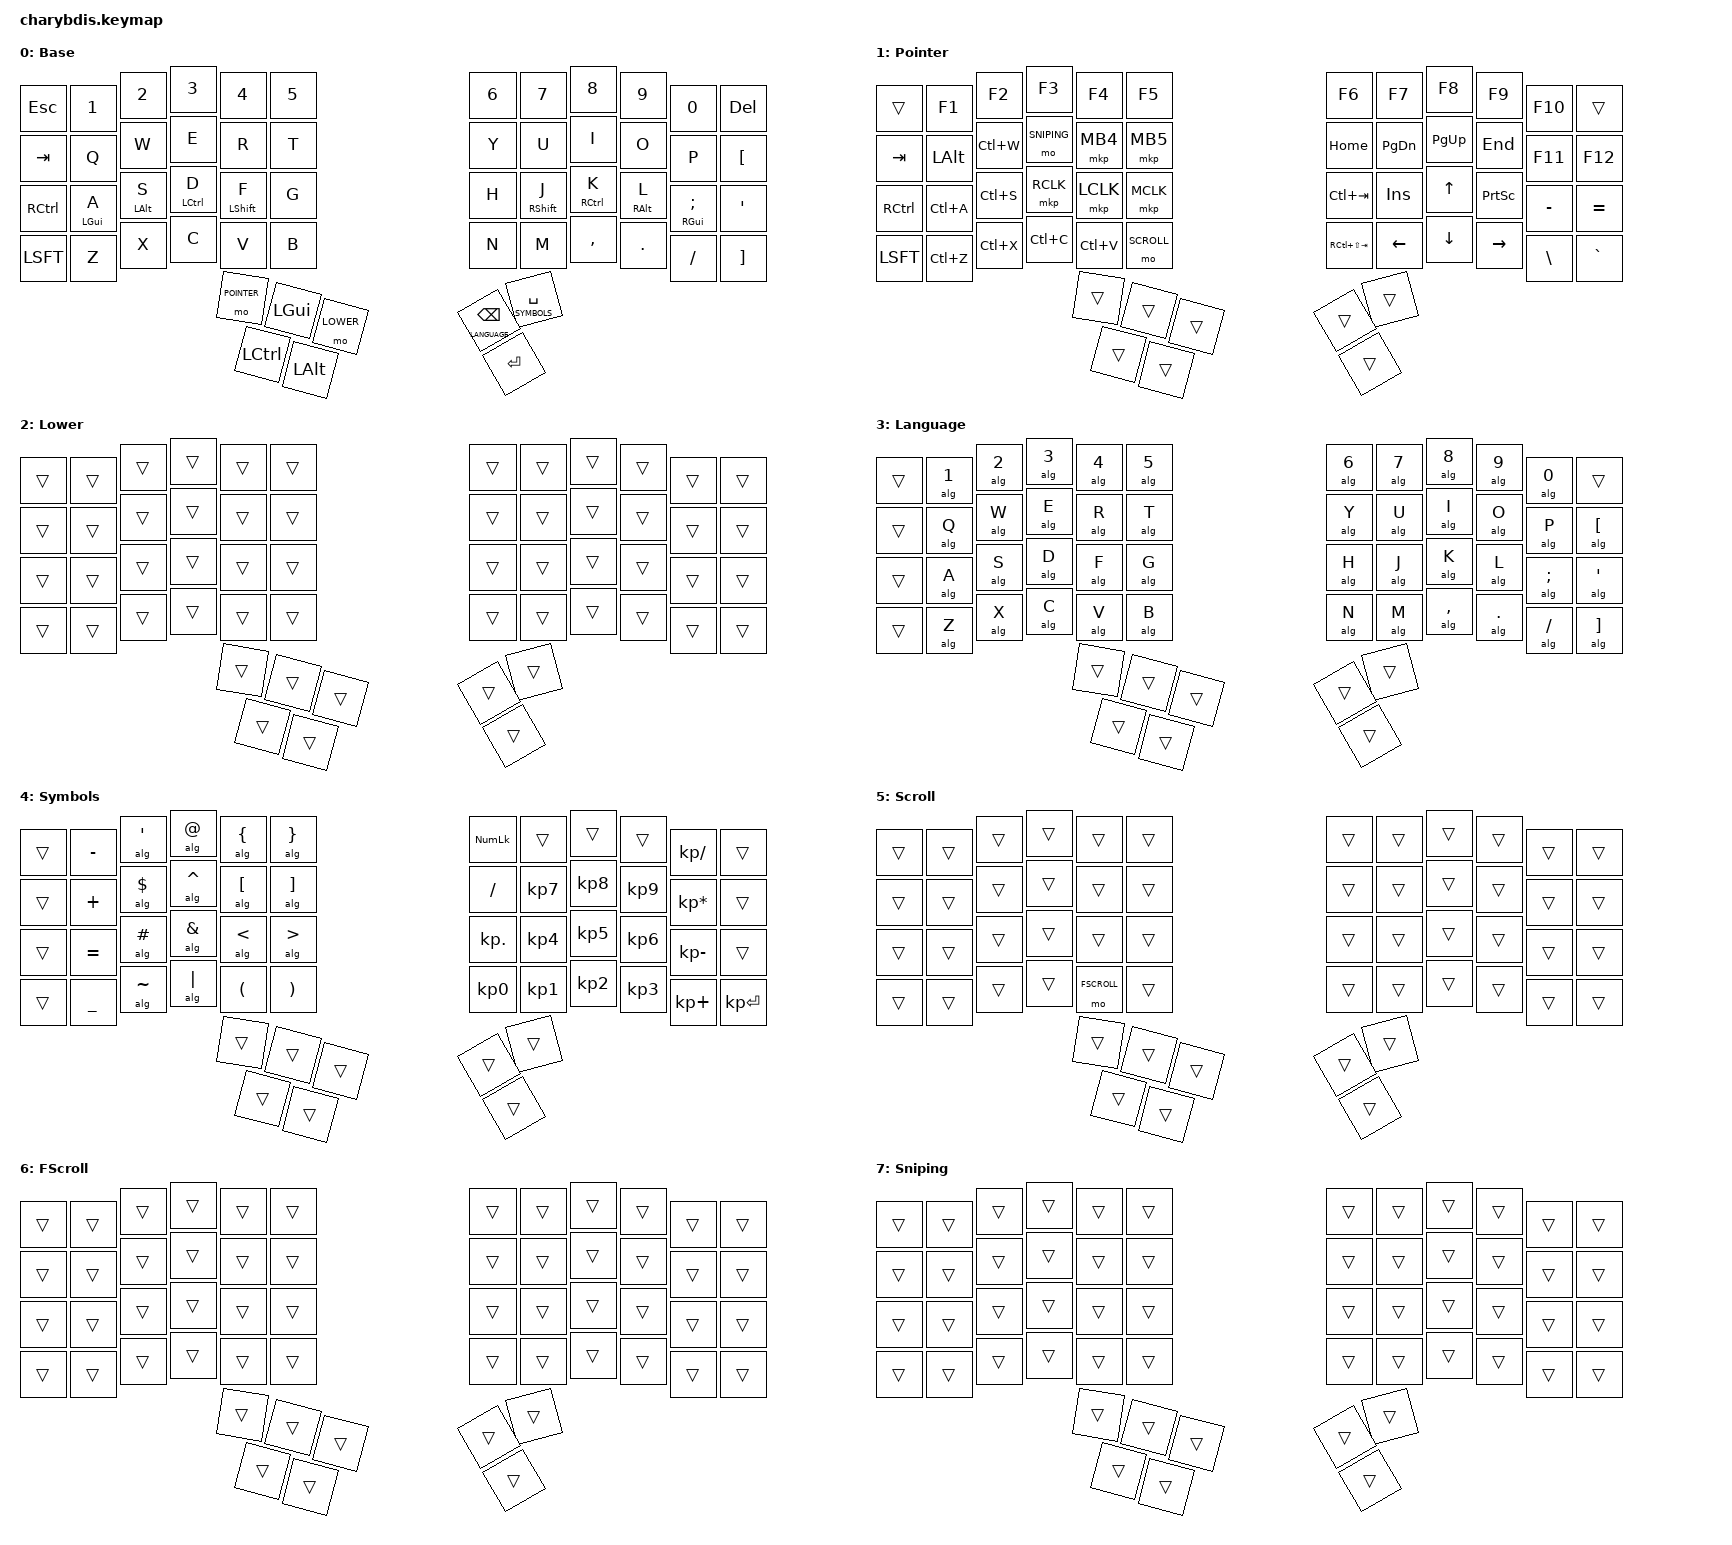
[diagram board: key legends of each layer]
#include <dt-bindings/zmk/mouse.h>
#include <behaviors/mouse_keys.dtsi>
#include <behaviors.dtsi>
#include <dt-bindings/zmk/bt.h>
#include <dt-bindings/zmk/keys.h>
#include <dt-bindings/zmk/outputs.h>
#include <dt-bindings/zmk/pointing.h>

/ {
    chosen { zmk,physical-layout = &charybdis_6col_layout; };
};

&mt {
    quick-tap-ms = <200>;
    flavor = "tap-preferred";
    tapping-term-ms = <170>;
};

&lt {
    quick-tap-ms = <200>;
    flavor = "tap-preferred";
    tapping-term-ms = <170>;
};

// Layer definitions
#define BASE 0
#define POINTER 1
#define LOWER 2
#define LANGUAGE 3
#define SYMBOLS 4
#define SCROLL 5
#define FSCROLL 6
#define SNIPING 7

/ {
  behaviors {
    // Hold-tap behavior for layer with tap-preferred
    blt: blt {
      compatible = "zmk,behavior-hold-tap";
      #binding-cells = <2>;
      flavor = "tap-preferred";
      tapping-term-ms = <200>;
      quick-tap-ms = <300>;
      require-prior-idle-ms = <100>;
      bindings = <&mo>, <&kp>;
    };

    // Home row mods - Left hand
    hml: home_row_mod_left {
      compatible = "zmk,behavior-hold-tap";
      #binding-cells = <2>;
      flavor = "balanced";
      require-prior-idle-ms = <150>;
      tapping-term-ms = <280>;
      quick-tap-ms = <175>;
      bindings = <&kp>, <&kp>;
      hold-trigger-key-positions = <6 7 8 9 10 11 18 19 20 21 22 23 30 31 32 33 34 35 42 43 44 45 46 47 53 54 55>; // Right side keys
      hold-trigger-on-release;
    };

    // Home row mods - Right hand
    hmr: home_row_mod_right {
      compatible = "zmk,behavior-hold-tap";
      #binding-cells = <2>;
      flavor = "balanced";
      require-prior-idle-ms = <150>;
      tapping-term-ms = <280>;
      quick-tap-ms = <175>;
      bindings = <&kp>, <&kp>;
      hold-trigger-key-positions = <0 1 2 3 4 5 12 13 14 15 16 17 24 25 26 27 28 29 36 37 38 39 40 41 48 49 50 51 52>; // Left side keys
      hold-trigger-on-release;
    };
  };

  macros {
    // Switching to another language with Ctrl + Shift, typing a key, and switching back
    alg: another_language  {
      compatible = "zmk,behavior-macro-one-param";
      #binding-cells = <1>;
      bindings
        = <&macro_press &kp LCTRL &kp LSHIFT>
		, <&macro_release &kp LCTRL &kp LSHIFT>
        , <&macro_param_1to1>
        , <&macro_tap &kp MACRO_PLACEHOLDER>
		, <&macro_press &kp LCTRL &kp LSHIFT>
		, <&macro_release &kp LCTRL &kp LSHIFT>
        ;
    };
    
  };

  combos {
    compatible = "zmk,combos";
    timeout-ms = <20>;
    require-prior-idle-ms = <250>;
    
    combo_reset_central {
      key-positions = <10 11 46>;
      bindings = <&bootloader>;
      require-prior-idle-ms = <2000>;
    };

    combo_studio_unlock {
      timeout-ms = <50>;
      key-positions = <53 54 55>;
      bindings = <&studio_unlock>;
    };

  };

  keymap {
    compatible = "zmk,keymap";

// ╭─────────────┬─────────────┬─────────────┬─────────────┬─────────────┬─────────────╮   ╭─────────────┬─────────────┬─────────────┬─────────────┬─────────────┬─────────────╮
//    0             1             2             3             4             5                 6             7             8             9            10            11
// ├─────────────┼─────────────┼─────────────┼─────────────┼─────────────┼─────────────┤   ├─────────────┼─────────────┼─────────────┼─────────────┼─────────────┼─────────────┤
//   12            13            14            15            16            17                18            19            20            21            22            23
// ├─────────────┼─────────────┼─────────────┼─────────────┼─────────────┼─────────────┤   ├─────────────┼─────────────┼─────────────┼─────────────┼─────────────┼─────────────┤
//   24            25            26            27            28            29                30            31            32            33            34            35
// ├─────────────┼─────────────┼─────────────┼─────────────┼─────────────┼─────────────┤   ├─────────────┼─────────────┼─────────────┼─────────────┼─────────────┼─────────────┤
//   36            37            38            39            40            41                42            43            44            45            46            47
// ╰─────────────┴─────────────┴─────────────┴─────────────┴─────────────┴─────────────╯   ╰─────────────┴─────────────┴─────────────┴─────────────┴─────────────┴─────────────╯
//               ╭─────────────┬─────────────┬─────────────┬─────────────┬─────────────╮   ╭─────────────┬─────────────┬─────────────╮
//                  48            49            50            51            52                53            54            55
//               ╰─────────────┴─────────────┴─────────────┴─────────────┴─────────────╯   ╰─────────────┴─────────────┴─────────────╯
//                                                                         Actual Key Positions
//                                          ╭─────────────┬─────────────┬─────────────╮    ╭─────────────┬─────────────╮
//                                             50           51            48                 55            54
//                                          ╰─────────────┼─────────────┼─────────────┤    ├─────────────┼─────────────╯
//                                                          52            49                 53
//                                                        ╰─────────────┴─────────────╯    ╰─────────────╯

    base_layer {
      label = "BASE";
      display-name = "Base";
      bindings = <
// ╭─────────────┬─────────────┬─────────────┬─────────────┬─────────────┬─────────────╮   ╭─────────────┬───────────────────┬────────────────┬─────────────┬───────────────┬─────────────╮
    &kp ESC       &kp N1        &kp N2        &kp N3        &kp N4        &kp N5            &kp N6        &kp N7              &kp N8           &kp N9        &kp N0          &kp DEL
// ├─────────────┼─────────────┼─────────────┼─────────────┼─────────────┼─────────────┤   ├─────────────┼───────────────────┼────────────────┼─────────────┼───────────────┼─────────────┤
    &kp TAB       &kp Q         &kp W         &kp E         &kp R         &kp T             &kp Y         &kp U               &kp I            &kp O         &kp P           &kp LBKT
// ├─────────────┼─────────────┼─────────────┼─────────────┼─────────────┼─────────────┤   ├─────────────┼───────────────────┼────────────────┼─────────────┼───────────────┼─────────────┤
    &kp RCTRL     &hml LGUI A   &hml LALT S   &hml LCTRL D  &hml LSHIFT F &kp G             &kp H         &hmr RSHIFT J       &hmr RCTRL K     &hmr RALT L   &hmr RGUI SEMI  &kp SQT
// ├─────────────┼─────────────┼─────────────┼─────────────┼─────────────┼─────────────┤   ├─────────────┼───────────────────┼────────────────┼─────────────┼───────────────┼─────────────┤
    &kp LSFT      &kp Z         &kp X         &kp C         &kp V         &kp B             &kp N         &kp M               &kp COMMA        &kp DOT       &kp FSLH        &kp RBKT
// ╰─────────────┴─────────────┴─────────────┴─────────────┴─────────────┴─────────────╯   ╰─────────────┴───────────────────┴────────────────┴─────────────┴───────────────┴─────────────╯
//               ╭─────────────┬─────────────┬─────────────┬─────────────┬─────────────╮   ╭─────────────┬───────────────────┬────────────────╮
                  &mo LOWER     &kp LALT      &mo POINTER   &kp LGUI     &kp LCTRL         &kp RET       &blt SYMBOLS SPACE  &blt LANGUAGE BSPC
//               ╰─────────────┴─────────────┴─────────────┴─────────────┴─────────────╯   ╰─────────────┴───────────────────┴────────────────╯
      >;
    };

    pointer_layer {
      label = "POINTER";
      display-name = "Pointer";
      bindings = <
// ╭─────────────┬─────────────┬─────────────┬─────────────┬─────────────┬─────────────╮   ╭───────────────┬─────────────┬─────────────┬─────────────┬─────────────┬─────────────╮
    &trans        &kp F1        &kp F2        &kp F3        &kp F4        &kp F5            &kp F6          &kp F7        &kp F8        &kp F9        &kp F10       &trans
// ├─────────────┼─────────────┼─────────────┼─────────────┼─────────────┼─────────────┤   ├───────────────┼─────────────┼─────────────┼─────────────┼─────────────┼─────────────┤
    &kp TAB       &kp LALT      &kp LC(W)     &mo SNIPING   &mkp MB4      &mkp MB5          &kp HOME        &kp PG_DN     &kp PG_UP     &kp END       &kp F11       &kp F12
// ├─────────────┼─────────────┼─────────────┼─────────────┼─────────────┼─────────────┤   ├───────────────┼─────────────┼─────────────┼─────────────┼─────────────┼─────────────┤
    &kp RCTRL     &kp LC(A)     &kp LC(S)     &mkp RCLK     &mkp LCLK     &mkp MCLK         &kp LC(TAB)     &kp INS       &kp UP        &kp PSCRN     &kp MINUS     &kp EQUAL
// ├─────────────┼─────────────┼─────────────┼─────────────┼─────────────┼─────────────┤   ├───────────────┼─────────────┼─────────────┼─────────────┼─────────────┼─────────────┤
    &kp LSFT      &kp LC(Z)     &kp LC(X)     &kp LC(C)     &kp LC(V)     &mo SCROLL        &kp RC(LS(TAB)) &kp LEFT      &kp DOWN      &kp RIGHT     &kp BSLH      &kp GRAVE
// ╰─────────────┴─────────────┴─────────────┴─────────────┴─────────────┴─────────────╯   ╰───────────────┴─────────────┴─────────────┴─────────────┴─────────────┴─────────────╯
//               ╭─────────────┬─────────────┬─────────────┬─────────────┬─────────────╮   ╭───────────────┬─────────────┬─────────────╮
                  &trans        &trans        &trans        &trans        &trans            &trans          &trans        &trans
//               ╰─────────────┴─────────────┴─────────────┴─────────────┴─────────────╯   ╰───────────────┴─────────────┴─────────────╯
      >;
    };

    lower_layer {
      label = "LOWER";
      display-name = "Lower";
      bindings = <
// ╭─────────────┬─────────────┬─────────────┬─────────────┬─────────────┬─────────────╮   ╭─────────────┬─────────────┬─────────────┬─────────────┬─────────────┬─────────────╮
    &trans        &trans        &trans        &trans        &trans        &trans            &trans        &trans        &trans        &trans        &trans        &trans
// ├─────────────┼─────────────┼─────────────┼─────────────┼─────────────┼─────────────┤   ├─────────────┼─────────────┼─────────────┼─────────────┼─────────────┼─────────────┤
    &trans        &trans        &trans        &trans        &trans        &trans            &trans        &trans        &trans        &trans        &trans        &trans
// ├─────────────┼─────────────┼─────────────┼─────────────┼─────────────┼─────────────┤   ├─────────────┼─────────────┼─────────────┼─────────────┼─────────────┼─────────────┤
    &trans        &trans        &trans        &trans        &trans        &trans            &trans        &trans        &trans        &trans        &trans        &trans
// ├─────────────┼─────────────┼─────────────┼─────────────┼─────────────┼─────────────┤   ├─────────────┼─────────────┼─────────────┼─────────────┼─────────────┼─────────────┤
    &trans        &trans        &trans        &trans        &trans        &trans            &trans        &trans        &trans        &trans        &trans        &trans
// ╰─────────────┴─────────────┴─────────────┴─────────────┴─────────────┴─────────────╯   ╰─────────────┴─────────────┴─────────────┴─────────────┴─────────────┴─────────────╯
//               ╭─────────────┬─────────────┬─────────────┬─────────────┬─────────────╮   ╭─────────────┬─────────────┬────────────────╮
                  &trans        &trans        &trans        &trans        &trans            &trans        &trans        &trans
//               ╰─────────────┴─────────────┴─────────────┴─────────────┴─────────────╯   ╰─────────────┴─────────────┴────────────────╯
      >;
    };

    language_layer {
      label = "LANGUAGE";
      display-name = "Language";
      bindings = <
// ╭─────────────┬─────────────┬─────────────┬─────────────┬─────────────┬─────────────╮   ╭─────────────┬───────────────────┬────────────────┬─────────────┬───────────────┬─────────────╮
    &trans        &alg N1       &alg N2       &alg N3       &alg N4       &alg N5           &alg N6       &alg N7             &alg N8          &alg N9       &alg N0          &trans
// ├─────────────┼─────────────┼─────────────┼─────────────┼─────────────┼─────────────┤   ├─────────────┼───────────────────┼────────────────┼─────────────┼───────────────┼─────────────┤
    &trans        &alg Q        &alg W        &alg E        &alg R        &alg T            &alg Y        &alg U              &alg I           &alg O        &alg P          &alg LBKT
// ├─────────────┼─────────────┼─────────────┼─────────────┼─────────────┼─────────────┤   ├─────────────┼───────────────────┼────────────────┼─────────────┼───────────────┼─────────────┤
    &trans        &alg A        &alg S        &alg D        &alg F        &alg G            &alg H        &alg J              &alg K           &alg L        &alg SEMI       &alg SQT
// ├─────────────┼─────────────┼─────────────┼─────────────┼─────────────┼─────────────┤   ├─────────────┼───────────────────┼────────────────┼─────────────┼───────────────┼─────────────┤
    &trans        &alg Z        &alg X        &alg C        &alg V        &alg B            &alg N        &alg M              &alg COMMA       &alg DOT      &alg FSLH       &alg RBKT
// ╰─────────────┴─────────────┴─────────────┴─────────────┴─────────────┴─────────────╯   ╰─────────────┴───────────────────┴────────────────┴─────────────┴───────────────┴─────────────╯
//               ╭─────────────┬─────────────┬─────────────┬─────────────┬─────────────╮   ╭─────────────┬─────────────┬─────────────╮
                    &trans        &trans        &trans        &trans        &trans            &trans        &trans        &trans
//               ╰─────────────┴─────────────┴─────────────┴─────────────┴─────────────╯   ╰─────────────┴─────────────┴─────────────╯
      >;
    };

    symbols_layer {
      label = "SYMBOLS";
      display-name = "Symbols";
      bindings = <
// ╭─────────────┬───────────────┬──────────────────┬───────────────┬──────────────────────┬────────────────────╮   ╭─────────────────┬───────────────┬────────────────┬─────────────┬─────────────┬─────────────╮
    &trans        &kp MINUS       &alg SINGLE_QUOTE  &alg AT_SIGN    &alg LEFT_BRACE        &alg RIGHT_BRACE         &kp KP_NLCK       &trans          &trans           &trans        &kp KP_DIVIDE   &trans
// ├─────────────┼───────────────┼──────────────────┼───────────────┼──────────────────────┼────────────────────┤   ├─────────────────┼───────────────┼────────────────┼─────────────┼─────────────┼─────────────┤
    &trans        &kp PLUS        &alg DOLLAR        &alg CARET      &alg LEFT_BRACKET      &alg RIGHT_BRACKET       &kp FSLH          &kp KP_N7       &kp KP_N8        &kp KP_N9     &kp KP_MULTIPLY &trans
// ├─────────────┼───────────────┼──────────────────┼───────────────┼──────────────────────┼────────────────────┤   ├─────────────────┼───────────────┼────────────────┼─────────────┼─────────────┼─────────────┤
    &trans        &kp EQUAL       &alg HASH          &alg AMPERSAND  &alg LESS_THAN         &alg GREATER_THAN        &kp KP_DOT        &kp KP_N4       &kp KP_N5        &kp KP_N6     &kp KP_MINUS    &trans
// ├─────────────┼───────────────┼──────────────────┼───────────────┼──────────────────────┼────────────────────┤   ├─────────────────┼───────────────┼────────────────┼─────────────┼─────────────┼─────────────┤
    &trans        &kp UNDERSCORE  &alg TILDE         &alg PIPE       &kp LEFT_PARENTHESIS   &kp RIGHT_PARENTHESIS    &kp KP_N0         &kp KP_N1       &kp KP_N2        &kp KP_N3     &kp KP_PLUS     &kp KP_ENTER
// ╰─────────────┴───────────────┴──────────────────┴───────────────┴──────────────────────┴────────────────────╯   ╰─────────────────┴───────────────┴────────────────┴─────────────┴─────────────┴─────────────╯
//               ╭───────────────┬──────────────────┬───────────────┬──────────────────────┬────────────────────╮   ╭─────────────────┬───────────────┬────────────────╮
                  &trans          &trans             &trans          &trans                 &trans                   &trans            &trans          &trans
//               ╰───────────────┴──────────────────┴───────────────┴──────────────────────┴────────────────────╯   ╰─────────────────┴───────────────┴────────────────╯
      >;
    };

    scroll_layer {
      label = "SCROLL";
      display-name = "Scroll";
      bindings = <
// ╭─────────────┬─────────────┬─────────────┬─────────────┬─────────────┬─────────────╮   ╭─────────────┬─────────────┬─────────────┬─────────────┬─────────────┬─────────────╮
    &trans        &trans        &trans        &trans        &trans        &trans            &trans        &trans        &trans        &trans        &trans        &trans
// ├─────────────┼─────────────┼─────────────┼─────────────┼─────────────┼─────────────┤   ├─────────────┼─────────────┼─────────────┼─────────────┼─────────────┼─────────────┤
    &trans        &trans        &trans        &trans        &trans        &trans            &trans        &trans        &trans        &trans        &trans        &trans
// ├─────────────┼─────────────┼─────────────┼─────────────┼─────────────┼─────────────┤   ├─────────────┼─────────────┼─────────────┼─────────────┼─────────────┼─────────────┤
    &trans        &trans        &trans        &trans        &trans        &trans            &trans        &trans        &trans        &trans        &trans        &trans
// ├─────────────┼─────────────┼─────────────┼─────────────┼─────────────┼─────────────┤   ├─────────────┼─────────────┼─────────────┼─────────────┼─────────────┼─────────────┤
    &trans        &trans        &trans        &trans        &mo FSCROLL   &trans            &trans        &trans        &trans        &trans        &trans        &trans
// ╰─────────────┴─────────────┴─────────────┴─────────────┴─────────────┴─────────────╯   ╰─────────────┴─────────────┴─────────────┴─────────────┴─────────────┴─────────────╯
//               ╭─────────────┬─────────────┬─────────────┬─────────────┬─────────────╮   ╭─────────────┬─────────────┬─────────────╮
                    &trans        &trans        &trans        &trans        &trans            &trans        &trans        &trans
//               ╰─────────────┴─────────────┴─────────────┴─────────────┴─────────────╯   ╰─────────────┴─────────────┴─────────────╯
      >;
    };

    fast_scroll_layer {
      label = "FSCROLL";
      display-name = "FScroll";
      bindings = <
// ╭─────────────┬─────────────┬─────────────┬─────────────┬─────────────┬─────────────╮   ╭─────────────┬─────────────┬─────────────┬─────────────┬─────────────┬─────────────╮
    &trans        &trans        &trans        &trans        &trans        &trans            &trans        &trans        &trans        &trans        &trans        &trans
// ├─────────────┼─────────────┼─────────────┼─────────────┼─────────────┼─────────────┤   ├─────────────┼─────────────┼─────────────┼─────────────┼─────────────┼─────────────┤
    &trans        &trans        &trans        &trans        &trans        &trans            &trans        &trans        &trans        &trans        &trans        &trans
// ├─────────────┼─────────────┼─────────────┼─────────────┼─────────────┼─────────────┤   ├─────────────┼─────────────┼─────────────┼─────────────┼─────────────┼─────────────┤
    &trans        &trans        &trans        &trans        &trans        &trans            &trans        &trans        &trans        &trans        &trans        &trans
// ├─────────────┼─────────────┼─────────────┼─────────────┼─────────────┼─────────────┤   ├─────────────┼─────────────┼─────────────┼─────────────┼─────────────┼─────────────┤
    &trans        &trans        &trans        &trans        &trans        &trans            &trans        &trans        &trans        &trans        &trans        &trans
// ╰─────────────┴─────────────┴─────────────┴─────────────┴─────────────┴─────────────╯   ╰─────────────┴─────────────┴─────────────┴─────────────┴─────────────┴─────────────╯
//               ╭─────────────┬─────────────┬─────────────┬─────────────┬─────────────╮   ╭─────────────┬─────────────┬─────────────╮
                    &trans        &trans        &trans        &trans        &trans            &trans        &trans        &trans
//               ╰─────────────┴─────────────┴─────────────┴─────────────┴─────────────╯   ╰─────────────┴─────────────┴─────────────╯
      >;
    };

    sniping_layer {
      label = "SNIPING";
      display-name = "Sniping";
      bindings = <
// ╭─────────────┬─────────────┬─────────────┬─────────────┬─────────────┬─────────────╮   ╭─────────────┬─────────────┬─────────────┬─────────────┬─────────────┬─────────────╮
    &trans        &trans        &trans        &trans        &trans        &trans            &trans        &trans        &trans        &trans        &trans        &trans
// ├─────────────┼─────────────┼─────────────┼─────────────┼─────────────┼─────────────┤   ├─────────────┼─────────────┼─────────────┼─────────────┼─────────────┼─────────────┤
    &trans        &trans        &trans        &trans        &trans        &trans            &trans        &trans        &trans        &trans        &trans        &trans
// ├─────────────┼─────────────┼─────────────┼─────────────┼─────────────┼─────────────┤   ├─────────────┼─────────────┼─────────────┼─────────────┼─────────────┼─────────────┤
    &trans        &trans        &trans        &trans        &trans        &trans            &trans        &trans        &trans        &trans        &trans        &trans
// ├─────────────┼─────────────┼─────────────┼─────────────┼─────────────┼─────────────┤   ├─────────────┼─────────────┼─────────────┼─────────────┼─────────────┼─────────────┤
    &trans        &trans        &trans        &trans        &trans        &trans            &trans        &trans        &trans        &trans        &trans        &trans
// ╰─────────────┴─────────────┴─────────────┴─────────────┴─────────────┴─────────────╯   ╰─────────────┴─────────────┴─────────────┴─────────────┴─────────────┴─────────────╯
//               ╭─────────────┬─────────────┬─────────────┬─────────────┬─────────────╮   ╭─────────────┬─────────────┬─────────────╮
                    &trans        &trans        &trans        &trans        &trans            &trans        &trans        &trans
//               ╰─────────────┴─────────────┴─────────────┴─────────────┴─────────────╯   ╰─────────────┴─────────────┴─────────────╯
      >;
    };

  };
};
